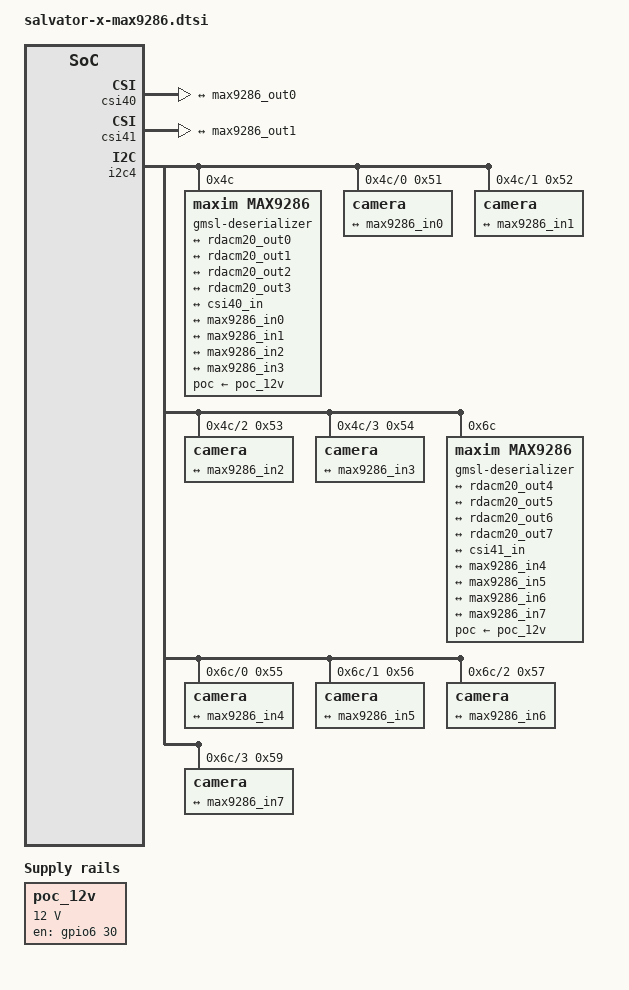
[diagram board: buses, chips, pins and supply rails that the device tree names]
/*
 * Device Tree Source for the Salvator-X MAX9286 expansion board
 *
 * Copyright (C) 2017 Ideas on Board <laurent.pinchart@ideasonboard.com>
 *
 * This file is licensed under the terms of the GNU General Public License
 * version 2.  This program is licensed "as is" without any warranty of any
 * kind, whether express or implied.
 */

#include <dt-bindings/gpio/gpio.h>

/*
 * MAX9286 A
 */
#define MAXIM_CAMERA0 "imi,rdacm20"
#define MAXIM_CAMERA1 "imi,rdacm20"
#define MAXIM_CAMERA2 "imi,rdacm20"
#define MAXIM_CAMERA3 "imi,rdacm20"

/*
 * MAX9286 B
 */
#define MAXIM_CAMERA4 "imi,rdacm20"
#define MAXIM_CAMERA5 "imi,rdacm20"
#define MAXIM_CAMERA6 "imi,rdacm20"
#define MAXIM_CAMERA7 "imi,rdacm20"

/ {
/*
 * Powered MCU IMI cameras need delay between power-on and R-Car access
 * to avoid I2C bus conflicts since the R-Car I2C does not support I2C
 * multi-master. The I2C bus conflict would result in R-Car I2C IP stall.
 */
#define IMI_MCU_V0_DELAY	8000000	/* delay for powered MCU firmware v0 */
#define IMI_MCU_V1_DELAY	3000000	/* delay for powered MCU firmware v1 */
#define IMI_MCU_NO_DELAY	0	/* delay for unpowered MCU  */
#define IMI_MCU_DELAY		IMI_MCU_V0_DELAY

	poc_12v: regulator-vcc-poc-12v {
		compatible = "regulator-fixed";

		regulator-name = "Camera PoC 12V";
		regulator-min-microvolt = <12000000>;
		regulator-max-microvolt = <12000000>;
		startup-delay-us = <(250000 + IMI_MCU_DELAY)>;

		gpio = <&gpio6 30 GPIO_ACTIVE_HIGH>;
		enable-active-high;
	};
};

&csi40 {
	status = "okay";

	ports {
		#address-cells = <1>;
		#size-cells = <0>;

		port@0 {
			reg = <0>;

			csi40_in: endpoint {
				clock-lanes = <0>;
				data-lanes = <1 2 3 4>;
				remote-endpoint = <&max9286_out0>;
			};
		};
	};
};

&csi41 {
	status = "okay";

	ports {
		#address-cells = <1>;
		#size-cells = <0>;

		port@0 {
			reg = <0>;

			csi41_in: endpoint {
				clock-lanes = <0>;
				data-lanes = <1 2 3 4>;
				remote-endpoint = <&max9286_out1>;
			};
		};
	};
};

&i2c4 {
	gmsl-deserializer@0 {
		compatible = "maxim,max9286";
		reg = <0x4c>;
		poc-supply = <&poc_12v>;

		#address-cells = <1>;
		#size-cells = <0>;

		ports {
			#address-cells = <1>;
			#size-cells = <0>;

			port@0 {
				reg = <0>;
				max9286_in0: endpoint {
#ifdef MAXIM_CAMERA0
					remote-endpoint = <&rdacm20_out0>;
#endif
				};
			};

			port@1 {
				reg = <1>;
				max9286_in1: endpoint {
#ifdef MAXIM_CAMERA1
					remote-endpoint = <&rdacm20_out1>;
#endif
				};
			};

			port@2 {
				reg = <2>;
				max9286_in2: endpoint {
#ifdef MAXIM_CAMERA2
					remote-endpoint = <&rdacm20_out2>;
#endif
				};
			};

			port@3 {
				reg = <3>;
				max9286_in3: endpoint {
#ifdef MAXIM_CAMERA3
					remote-endpoint = <&rdacm20_out3>;
#endif
				};
			};

			port@4 {
				reg = <4>;
				max9286_out0: endpoint {
					clock-lanes = <0>;
					data-lanes = <1 2 3 4>;
					remote-endpoint = <&csi40_in>;
				};
			};
		};

		i2c@0 {
			#address-cells = <1>;
			#size-cells = <0>;
			reg = <0>;

#ifdef MAXIM_CAMERA0
			camera@51 {
				compatible = MAXIM_CAMERA0;
				reg = <0x51 0x61>;

				port {
					rdacm20_out0: endpoint {
						remote-endpoint = <&max9286_in0>;
					};
				};

			};
#endif
		};

		i2c@1 {
			#address-cells = <1>;
			#size-cells = <0>;
			reg = <1>;

#ifdef MAXIM_CAMERA1
			camera@52 {
				compatible = MAXIM_CAMERA1;
				reg = <0x52 0x62>;
				port {
					rdacm20_out1: endpoint {
						remote-endpoint = <&max9286_in1>;
					};
				};
			};
#endif
		};

		i2c@2 {
			#address-cells = <1>;
			#size-cells = <0>;
			reg = <2>;

#ifdef MAXIM_CAMERA2
			camera@53 {
				compatible = MAXIM_CAMERA2;
				reg = <0x53 0x63>;
				port {
					rdacm20_out2: endpoint {
						remote-endpoint = <&max9286_in2>;
					};
				};
			};
#endif
		};

		i2c@3 {
			#address-cells = <1>;
			#size-cells = <0>;
			reg = <3>;

#ifdef MAXIM_CAMERA3
			camera@54 {
				compatible = MAXIM_CAMERA3;
				reg = <0x54 0x64>;
				port {
					rdacm20_out3: endpoint {
						remote-endpoint = <&max9286_in3>;
					};
				};
			};
#endif
		};
	};

	gmsl-deserializer@1 {
		compatible = "maxim,max9286";
		reg = <0x6c>;
		poc-supply = <&poc_12v>;

		#address-cells = <1>;
		#size-cells = <0>;

		ports {
			#address-cells = <1>;
			#size-cells = <0>;

			port@0 {
				reg = <0>;
				max9286_in4: endpoint {
#ifdef MAXIM_CAMERA4
					remote-endpoint = <&rdacm20_out4>;
#endif
				};
			};

			port@1 {
				reg = <1>;
				max9286_in5: endpoint {
#ifdef MAXIM_CAMERA5
					remote-endpoint = <&rdacm20_out5>;
#endif
				};
			};

			port@2 {
				reg = <2>;
				max9286_in6: endpoint {
#ifdef MAXIM_CAMERA6
					remote-endpoint = <&rdacm20_out6>;
#endif
				};
			};

			port@3 {
				reg = <3>;
				max9286_in7: endpoint {
#ifdef MAXIM_CAMERA7
					remote-endpoint = <&rdacm20_out7>;
#endif
				};
			};

			port@4 {
				reg = <4>;
				max9286_out1: endpoint {
					clock-lanes = <0>;
					data-lanes = <1 2 3 4>;
					remote-endpoint = <&csi41_in>;
				};
			};
		};

		i2c@0 {
			#address-cells = <1>;
			#size-cells = <0>;
			reg = <0>;

#ifdef MAXIM_CAMERA4
			camera@55 {
				compatible = MAXIM_CAMERA4;
				reg = <0x55 0x65>;
				port {
					rdacm20_out4: endpoint {
						remote-endpoint = <&max9286_in4>;
					};
				};
			};
#endif
		};

		i2c@1 {
			#address-cells = <1>;
			#size-cells = <0>;
			reg = <1>;

#ifdef MAXIM_CAMERA5
			camera@56 {
				compatible = MAXIM_CAMERA5;
				reg = <0x56 0x66>;
				port {
					rdacm20_out5: endpoint {
						remote-endpoint = <&max9286_in5>;
					};
				};
			};
#endif
		};

		i2c@2 {
			#address-cells = <1>;
			#size-cells = <0>;
			reg = <2>;

#ifdef MAXIM_CAMERA6
			camera@57 {
				compatible = MAXIM_CAMERA6;
				reg = <0x57 0x67>;
				port {
					rdacm20_out6: endpoint {
						remote-endpoint = <&max9286_in6>;
					};
				};
			};
#endif
		};

		i2c@3 {
			#address-cells = <1>;
			#size-cells = <0>;
			reg = <3>;

#ifdef MAXIM_CAMERA7
			camera@59 {
				compatible = MAXIM_CAMERA7;
				/* The Salvator-X has a PCIe Clock gen @ 0x68 */
				reg = <0x59 0x69>;
				port {
					rdacm20_out7: endpoint {
						remote-endpoint = <&max9286_in7>;
					};
				};
			};
#endif
		};
	};
};
